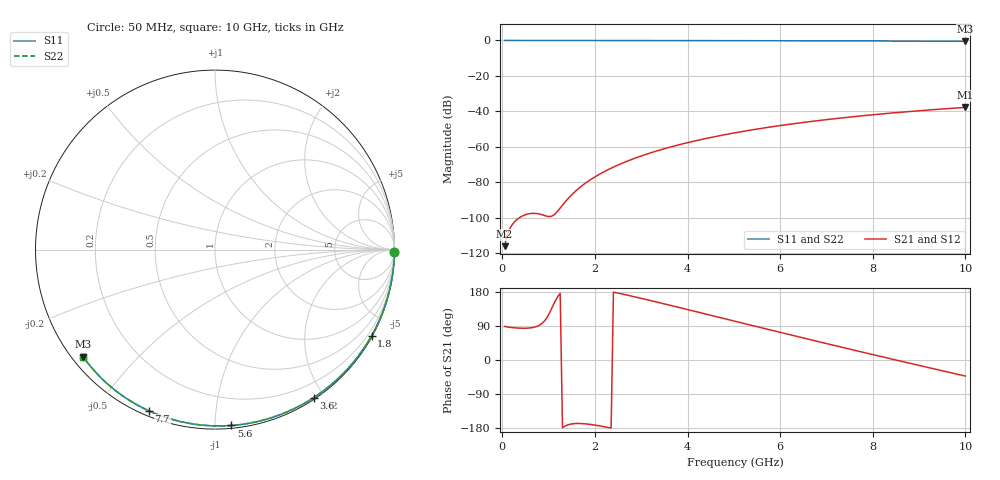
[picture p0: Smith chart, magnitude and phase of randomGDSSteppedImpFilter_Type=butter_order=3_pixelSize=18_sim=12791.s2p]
! freq	dB(S11)	phase(S11)	dB(S12)	phase(S12)
!  dB(S21)	phase(S21)	dB(S22)	phase(S22)
!S-par simulation data
#  GHz  S  DB  R 50
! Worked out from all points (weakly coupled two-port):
!   200 points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, 50 MHz to 10 GHz, reference 50 ohm
!   highest |S21| = -37.73 dB at 10 GHz (marker M1); lowest = -116.0 dB at 50 MHz (marker M2)
!   lowest |S11| = -0.5 dB at 10 GHz (marker M3), VSWR 36.47, Z = 1.54 - j17.7 ohm
!   |S11| at or under -10 dB: nowhere
!   |S22| runs from -0.5 to 0.0 dB; largest |S21 - S12| = 0
!   S11 on the Smith chart (normalised r, x): 50 MHz: open; 1.8 GHz: 0.03, -3.89; 3.6 GHz: 0.02, -1.87; 5.6 GHz: 0.02, -1.10; 7.7 GHz: 0.02, -0.67; 10 GHz: 0.03, -0.35
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0.05  -0.00 -0.8  -115.97 88.6  -115.97 88.6  -0.00 -0.8
0.45  -0.01 -7.3  -98.73 83.8  -98.73 83.8  -0.01 -7.3
0.9  -0.02 -14.6  -98.60 101.5  -98.60 101.5  -0.02 -14.6
1.75  -0.04 -28.1  -81.31 -168.1  -81.31 -168.1  -0.04 -28.1
1.8  -0.04 -28.9  -80.35 -168.6  -80.35 -168.6  -0.04 -28.9
1.85  -0.04 -29.6  -79.44 -169.2  -79.44 -169.2  -0.04 -29.6
2  -0.04 -32.0  -76.92 -171.7  -76.92 -171.7  -0.04 -32.0
2.15  -0.04 -34.3  -74.66 -174.9  -74.66 -174.9  -0.04 -34.3
2.35  -0.05 -37.4  -72.00 -179.6  -72.00 -179.6  -0.05 -37.4
2.55  -0.05 -40.5  -69.63 175.2  -69.63 175.2  -0.05 -40.5
2.95  -0.06 -46.6  -65.58 164.1  -65.58 164.1  -0.06 -46.6
3.4  -0.07 -53.4  -61.78 151.0  -61.78 151.0  -0.07 -53.4
3.6  -0.08 -56.3  -60.30 145.1  -60.30 145.1  -0.08 -56.3
4.3  -0.09 -66.5  -55.81 124.1  -55.81 124.1  -0.09 -66.5
5.05  -0.12 -77.2  -51.94 101.5  -51.94 101.5  -0.12 -77.2
5.6  -0.14 -84.7  -49.53 85.0  -49.53 85.0  -0.14 -84.7
6.15  -0.16 -92.1  -47.43 68.5  -47.43 68.5  -0.16 -92.1
6.7  -0.19 -99.4  -45.56 52.2  -45.56 52.2  -0.19 -99.4
7.7  -0.26 -112.2  -42.66 23.0  -42.66 23.0  -0.26 -112.2
8.35  -0.31 -120.4  -41.05 4.2  -41.05 4.2  -0.31 -120.4
9.2  -0.39 -131.0  -39.22 -19.9  -39.22 -19.9  -0.39 -131.0
10  -0.48 -140.9  -37.73 -42.5  -37.73 -42.5  -0.48 -140.9
